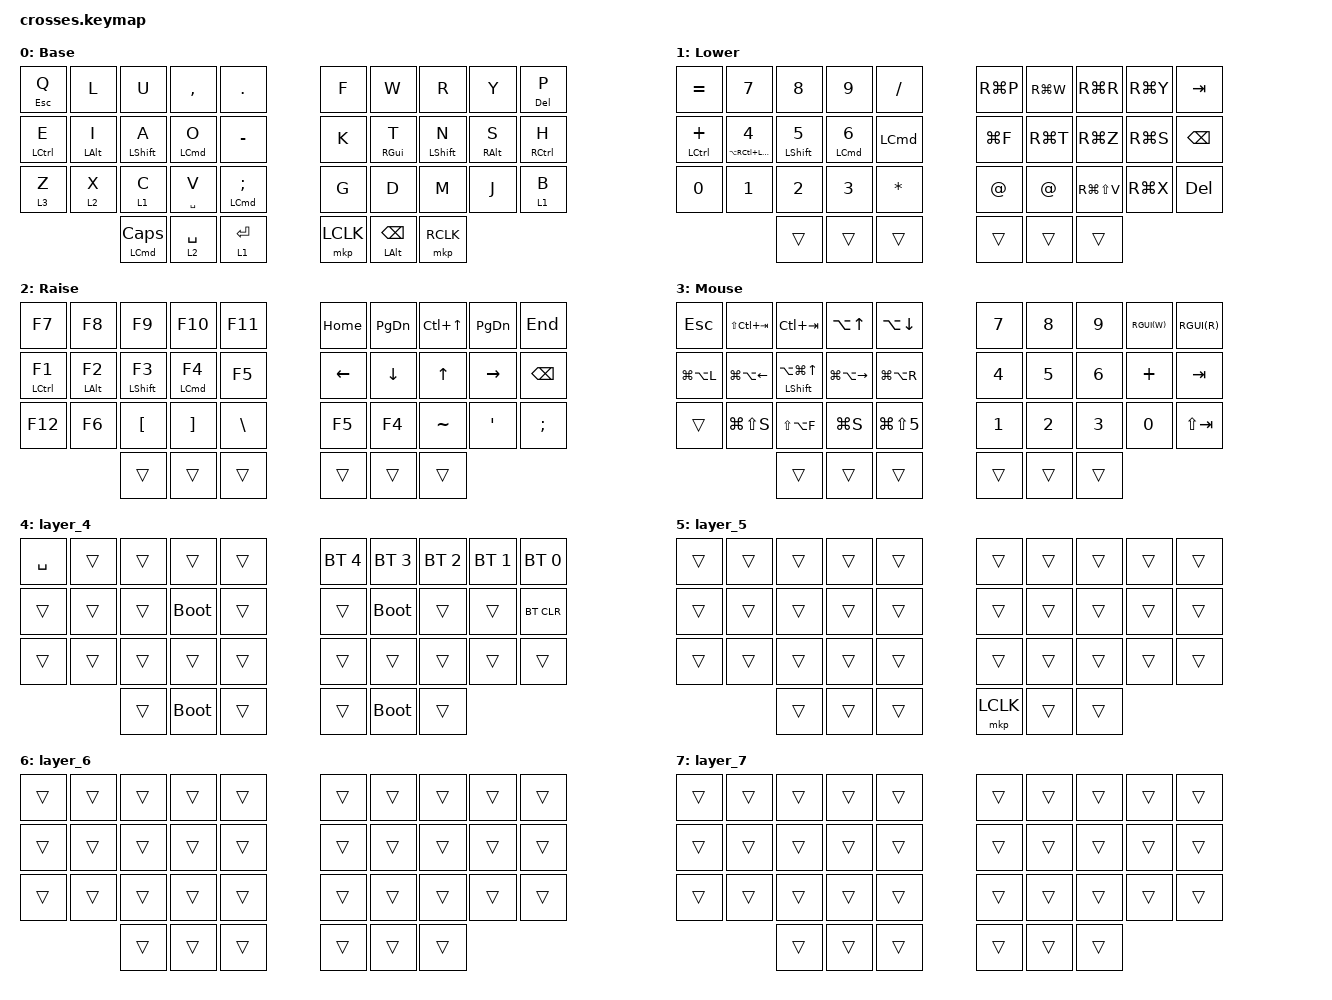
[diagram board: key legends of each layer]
#include <behaviors.dtsi>
#include <dt-bindings/zmk/bt.h>
#include <dt-bindings/zmk/keys.h>
#include <dt-bindings/zmk/pointing.h>

/ {
    chosen { zmk,physical-layout = &gggw_crosses_36_layout; };

    behaviors {
        as: auto_shift {
            compatible = "zmk,behavior-hold-tap";
            #binding-cells = <2>;
            tapping-term-ms = <200>;
            quick-tap-ms = <0>;
            flavor = "tap-preferred";
            bindings = <&kp>, <&kp>;
        };

        to_layer_5: to_layer_5 {
            compatible = "zmk,behavior-hold-tap";
            bindings = <&to>, <&kp>;

            #binding-cells = <2>;
            tapping-term-ms = <200>;
            hold-trigger-key-positions = <5>;
        };
    };

    combos {
        compatible = "zmk,combos";

        esc {
            bindings = <&kp ESCAPE>;
            key-positions = <0 1>;
        };

        layr {
            bindings = <&mo 4>;
            key-positions = <32 33>;
        };
    };

    keymap {
        compatible = "zmk,keymap";

        default_layer {
            display-name = "Base";
            bindings = <
&mt ESC Q           &kp L           &kp U                  &kp COMMA           &kp PERIOD                  &kp F      &kp W                  &kp R             &kp Y            &mt DEL P
&mt LEFT_CONTROL E  &mt LEFT_ALT I  &mt LEFT_SHIFT A       &mt LEFT_COMMAND O  &kp MINUS                   &kp K      &mt RGUI T             &mt LEFT_SHIFT N  &mt RIGHT_ALT S  &mt RIGHT_CONTROL H
&lt 3 Z             &lt 2 X         &lt 1 C                &mt SPACE V         &mt LEFT_COMMAND SEMICOLON  &kp G      &kp D                  &kp M             &kp J            &lt 1 B
                                    &mt LEFT_COMMAND CAPS  &lt 2 SPACE         &lt 1 ENTER                 &mkp LCLK  &mt LEFT_ALT BACKSPACE &mkp RCLK
            >;
        };

        lower_layer {
            display-name = "Lower";
            bindings = <
&kp EQUAL              &kp NUMBER_7                  &kp N8             &kp N9                     &kp SLASH         &kp RG(P)  &kp RG(W)    &kp RG(R)      &kp RG(Y)  &kp TAB
&mt LEFT_CONTROL PLUS  &mt LA(RC(LEFT_ALT)) NUMBER_4 &mt LEFT_SHIFT N5  &mt LEFT_COMMAND NUMBER_6  &kp LEFT_COMMAND  &kp LG(F)  &kp RG(T)    &kp RG(Z)      &kp RG(S)  &kp BACKSPACE
&kp N0                 &kp NUMBER_1                  &kp NUMBER_2       &kp NUMBER_3               &kp ASTERISK      &kp AT     &kp AT_SIGN  &kp RG(LS(V))  &kp RG(X)  &kp DEL
                                                     &trans             &trans                     &trans            &trans     &trans       &trans
            >;
        };

        raise_layer {
            display-name = "Raise";
            bindings = <
&kp F7               &kp F8           &kp F9             &kp F10              &kp F11        &kp HOME  &kp PAGE_DOWN  &kp LC(UP_ARROW)  &kp PAGE_DOWN  &kp END
&mt LEFT_CONTROL F1  &mt LEFT_ALT F2  &mt LEFT_SHIFT F3  &mt LEFT_COMMAND F4  &kp F5         &kp LEFT  &kp DOWN       &kp UP_ARROW      &kp RIGHT      &kp BACKSPACE
&kp F12              &kp F6           &kp LEFT_BRACKET   &kp RIGHT_BRACKET    &kp BACKSLASH  &kp F5    &kp F4         &kp TILDE         &kp SQT        &kp SEMICOLON
                                      &trans             &trans               &trans         &trans    &trans         &trans
            >;
        };

        mouse_layer {
            display-name = "Mouse";
            bindings = <
&kp ESC        &kp LS(LC(TAB))   &kp LC(TAB)                      &kp LA(UP_ARROW)   &kp LA(DOWN)    &kp N7        &kp N8        &kp N9        &kp RGUI(W)  &kp RGUI(R)
&kp LG(LA(L))  &kp LG(LA(LEFT))  &mt LEFT_SHIFT LA(LG(UP_ARROW))  &kp LG(LA(RIGHT))  &kp LG(LA(R))   &kp NUMBER_4  &kp N5        &kp NUMBER_6  &kp PLUS     &kp TAB
&trans         &kp LG(LS(S))     &kp LS(LA(F))                    &kp LG(S)          &kp LG(LS(N5))  &kp NUMBER_1  &kp NUMBER_2  &kp NUMBER_3  &kp N0       &kp LS(TAB)
                                 &trans                           &trans             &trans          &trans        &trans        &trans
            >;
        };

        layer_4 {
            bindings = <
&kp SPACE  &trans  &trans  &trans       &trans  &bt BT_SEL 4  &bt BT_SEL 3  &bt BT_SEL 2  &bt BT_SEL 1  &bt BT_SEL 0
&trans     &trans  &trans  &bootloader  &trans  &trans        &bootloader   &trans        &trans        &bt BT_CLR
&trans     &trans  &trans  &trans       &trans  &trans        &trans        &trans        &trans        &trans
                   &trans  &bootloader  &trans  &trans        &bootloader   &trans
            >;
        };

        layer_5 {
            bindings = <
&trans  &trans  &trans  &trans  &trans  &trans     &trans  &trans  &trans  &trans
&trans  &trans  &trans  &trans  &trans  &trans     &trans  &trans  &trans  &trans
&trans  &trans  &trans  &trans  &trans  &trans     &trans  &trans  &trans  &trans
                &trans  &trans  &trans  &mkp LCLK  &trans  &trans
            >;
        };

        layer_6 {
            bindings = <
&trans  &trans  &trans  &trans  &trans  &trans  &trans  &trans  &trans  &trans
&trans  &trans  &trans  &trans  &trans  &trans  &trans  &trans  &trans  &trans
&trans  &trans  &trans  &trans  &trans  &trans  &trans  &trans  &trans  &trans
                &trans  &trans  &trans  &trans  &trans  &trans
            >;
        };

        layer_7 {
            bindings = <
&trans  &trans  &trans  &trans  &trans  &trans  &trans  &trans  &trans  &trans
&trans  &trans  &trans  &trans  &trans  &trans  &trans  &trans  &trans  &trans
&trans  &trans  &trans  &trans  &trans  &trans  &trans  &trans  &trans  &trans
                &trans  &trans  &trans  &trans  &trans  &trans
            >;
        };
    };
};
